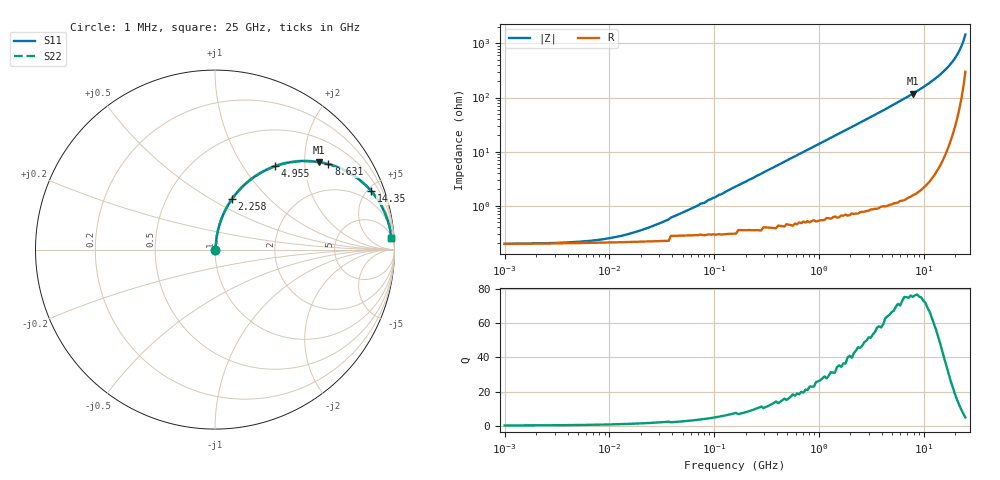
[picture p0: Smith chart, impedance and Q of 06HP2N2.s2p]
# MHz S MA R 50
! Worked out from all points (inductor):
!   220 points, 1 MHz to 25 GHz, reference 50 ohm
!   read as one part in series: L = 2.2 nH near 64.18 MHz
!   highest Q = 76.3 at 7.869 GHz (marker M1), where L = 2.38 nH
!   S11 on the Smith chart (normalised r, x): 1 MHz: 1.00, +0.00; 2.258 GHz: 1.01, +0.63; 4.955 GHz: 1.02, +1.41; 8.631 GHz: 1.03, +2.63; 14.35 GHz: 1.11, +5.32; 25 GHz: 7, +29
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1  0.001915 4.1  0.998 -0.0  0.998 -0.0  0.001915 4.1
5.534  0.002201 20.3  0.998 -0.0  0.998 -0.0  0.002201 20.3
13.323  0.002875 39.6  0.998 -0.1  0.998 -0.1  0.002875 39.6
30.624  0.00487 59.9  0.998 -0.2  0.998 -0.2  0.00487 59.9
70.394  0.01 73.6  0.997 -0.6  0.997 -0.6  0.01 73.6
73.726  0.011 74.2  0.997 -0.6  0.997 -0.6  0.011 74.2
80.869  0.011 75.2  0.997 -0.6  0.997 -0.6  0.011 75.2
88.705  0.013 76.1  0.997 -0.7  0.997 -0.7  0.013 76.1
101.904  0.014 77.4  0.997 -0.8  0.997 -0.8  0.014 77.4
161.812  0.023 80.5  0.997 -1.3  0.997 -1.3  0.023 80.5
854.988  0.117 80.8  0.988 -6.7  0.988 -6.7  0.117 80.8
2257.773  0.298 71.4  0.948 -17.3  0.948 -17.3  0.298 71.4
3268.403  0.413 64.5  0.903 -24.4  0.903 -24.4  0.413 64.5
4731.414  0.554 55.5  0.824 -33.7  0.824 -33.7  0.554 55.5
4955.333  0.573 54.2  0.811 -35.0  0.811 -35.0  0.573 54.2
7868.502  0.757 40.0  0.643 -49.2  0.643 -49.2  0.757 40.0
8630.896  0.791 37.0  0.602 -52.2  0.602 -52.2  0.791 37.0
14353.47  0.93 20.5  0.35 -68.4  0.35 -68.4  0.93 20.5
17269.69  0.959 14.7  0.254 -73.4  0.254 -73.4  0.959 14.7
20778.41  0.977 9.2  0.16 -77.1  0.16 -77.1  0.977 9.2
22791.67  0.982 6.4  0.113 -77.5  0.113 -77.5  0.982 6.4
25000  0.984 3.8  0.067 -74.4  0.067 -74.4  0.984 3.8
